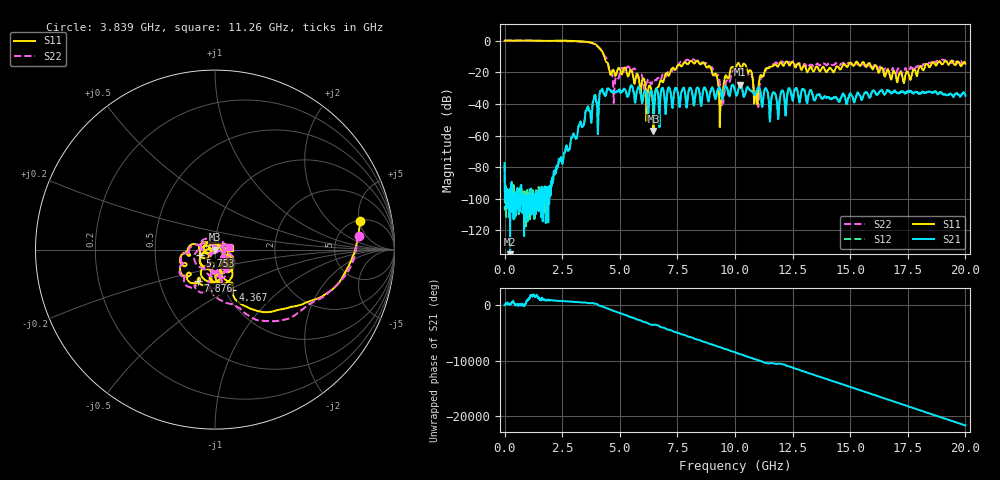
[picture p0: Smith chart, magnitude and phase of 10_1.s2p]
#  HZ  S  RI  R  50.00
! Rohde & Schwarz Vector Network Analyzer
! Rohde-Schwarz,ZNB20-2Port,1311601062102128,3.60
! Created: UTC 4/29/2024, 2:55:34 PM
! freq[Hz]  re:S11  im:S11  re:S21  im:S21  re:S12  im:S12  re:S22  im:S22
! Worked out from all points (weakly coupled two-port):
!   2007 points, 100 kHz to 20 GHz, reference 50 ohm
!   highest |S21| = -27.74 dB at 10.22 GHz (marker M1); lowest = -141.8 dB at 239.4 MHz (marker M2)
!   lowest |S11| = -57.2 dB at 6.461 GHz (marker M3), VSWR 1.00, Z = 50.1 + j0.00842 ohm
!   |S11| at or under -10 dB: 4.326 GHz to end of sweep
!   |S22| runs from -42.0 to 0.1 dB; largest |S21 - S12| = 0.0021
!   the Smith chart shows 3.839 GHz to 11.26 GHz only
!   S11 on the Smith chart (normalised r, x): 3.839 GHz: 5.16, +5.18; 4.367 GHz: 1.08, -0.52; 5.753 GHz: 0.85, -0.06; 7.876 GHz: 0.78, -0.28; 11.26 GHz: 1.19, +0.02
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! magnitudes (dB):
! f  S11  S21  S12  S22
! 100 kHz  0.0  -77.3  -78.4  0.1
! 239.4 MHz  0.0  -141.8  -100.4  0.0
! 2.213 GHz  -0.1  -82.9  -83.0  -0.3
! 3.34 GHz  -0.6  -53.9  -53.6  -0.6
! 3.839 GHz  -1.7  -38.1  -37.6  -1.9
! 4.367 GHz  -12.1  -35.1  -34.8  -10.1
! 4.776 GHz  -20.7  -32.4  -32.4  -28.7
! 5.753 GHz  -21.1  -31.4  -31.3  -22.7
! 6.461 GHz  -57.2  -45.5  -45.5  -24.7
! 6.67 GHz  -29.2  -35.2  -35.2  -23.5
! 7.876 GHz  -14.0  -38.8  -38.8  -12.3
! 8.903 GHz  -16.2  -33.7  -33.8  -16.9
! 9.392 GHz  -38.6  -33.5  -33.5  -35.5
! 9.591 GHz  -21.9  -28.6  -28.6  -27.8
! 10 GHz  -18.7  -31.8  -31.8  -19.6
! 10.22 GHz  -16.0  -27.7  -27.7  -17.0
! 10.68 GHz  -18.9  -31.6  -31.7  -22.1
! 10.91 GHz  -33.2  -32.9  -32.9  -35.4
! 11.26 GHz  -21.3  -33.3  -33.3  -22.0
! 13.34 GHz  -18.0  -32.8  -32.8  -15.3
! 16.67 GHz  -19.1  -31.8  -31.8  -20.5
! 20 GHz  -14.6  -34.9  -34.9  -14.4
